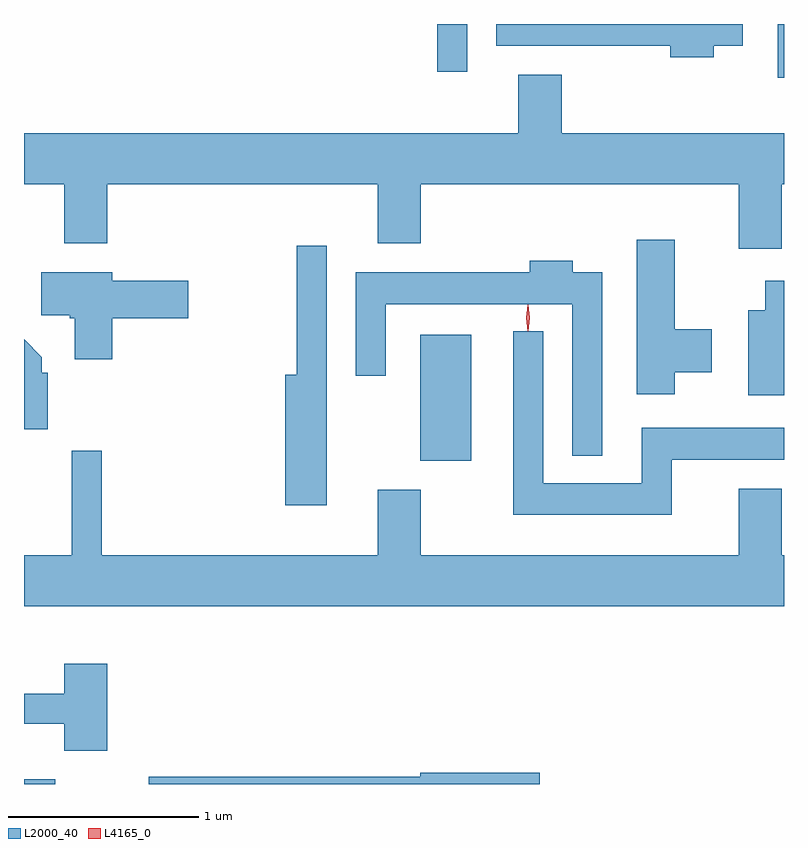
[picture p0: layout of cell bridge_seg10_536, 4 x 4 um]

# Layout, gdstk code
import gdstk
lib = gdstk.Library(unit=1e-6, precision=1e-09)
def R(c, l, rs):  # rectangles x0, y0, x1, y1
    for r in rs: c.add(gdstk.rectangle(r[:2], r[2:], *l))
def P(c, l, *ps):  # polygons
    for p in ps: c.add(gdstk.Polygon(p, *l))
L2000_40 = (2000, 40)
L4165_0 = (4165, 0)

bridge_seg10_536 = lib.new_cell('bridge_seg10_536')
R(bridge_seg10_536, L2000_40, [(761.89,2152.94,762.054,2152.964), (763.976,2154.641,764.244,2155.304), (765.856,2156.656,765.89,2156.94), (764.066,2156.688,764.224,2156.94)])
P(bridge_seg10_536, L2000_40, [(765.519,2156.826),(765.674,2156.826),(765.674,2156.94),(764.376,2156.94),(764.376,2156.826),(765.291,2156.826),(765.291,2156.766),(765.519,2156.766)],
  [(765.879,2156.096),(765.89,2156.096),(765.89,2156.364),(764.719,2156.364),(764.719,2156.674),(764.491,2156.674),(764.491,2156.364),(761.89,2156.364),(761.89,2156.096),(762.101,2156.096),(762.101,2155.786),(762.329,2155.786),(762.329,2156.096),(763.751,2156.096),(763.751,2155.786),(763.979,2155.786),(763.979,2156.096),(765.651,2156.096),(765.651,2155.756),(765.879,2155.756)],
  [(765.314,2155.106),(765.509,2155.106),(765.509,2155.334),(765.314,2155.334),(765.314,2155.804),(765.116,2155.804),(765.116,2154.991),(765.314,2154.991)],
  [(763.484,2155.773),(763.326,2155.773),(763.326,2155.094),(763.266,2155.094),(763.266,2154.406),(763.484,2154.406)],
  [(764.934,2155.634),(764.779,2155.634),(764.779,2155.694),(764.551,2155.694),(764.551,2155.634),(763.636,2155.634),(763.636,2155.088),(763.794,2155.088),(763.794,2155.466),(764.776,2155.466),(764.776,2154.668),(764.934,2154.668)],
  [(762.354,2155.391),(762.754,2155.391),(762.754,2155.589),(762.354,2155.589),(762.354,2155.634),(761.981,2155.634),(761.981,2155.406),(762.13,2155.406),(762.13,2155.391),(762.156,2155.391),(762.156,2155.176),(762.354,2155.176)],
  [(765.89,2155.589),(765.791,2155.589),(765.791,2155.434),(765.701,2155.434),(765.701,2154.986),(765.89,2154.986)],
  [(765.299,2154.646),(765.89,2154.646),(765.89,2154.814),(765.141,2154.814),(765.141,2154.524),(764.624,2154.524),(764.624,2155.323),(764.466,2155.323),(764.466,2154.356),(765.299,2154.356)],
  [(762.014,2155.104),(761.984,2155.104),(761.984,2155.187),(761.89,2155.281),(761.89,2154.806),(762.014,2154.806)],
  [(765.89,2154.144),(765.879,2154.144),(765.879,2154.494),(765.651,2154.494),(765.651,2154.144),(763.979,2154.144),(763.979,2154.489),(763.751,2154.489),(763.751,2154.144),(762.299,2154.144),(762.299,2154.693),(762.141,2154.693),(762.141,2154.144),(761.89,2154.144),(761.89,2153.876),(765.89,2153.876)],
  [(762.329,2153.574),(762.101,2153.574),(762.101,2153.414),(761.89,2153.414),(761.89,2153.256),(762.101,2153.256),(762.101,2153.116),(762.329,2153.116)],
  [(764.604,2152.999),(763.976,2152.999),(763.976,2152.979),(762.546,2152.979),(762.546,2152.94),(764.604,2152.94)])
P(bridge_seg10_536, L4165_0, [(764.543,2155.323),(764.542,2155.324),(764.533,2155.393),(764.542,2155.462),(764.543,2155.463),(764.543,2155.462),(764.553,2155.393),(764.543,2155.324)],
  [(764.543,2155.327),(764.543,2155.327),(764.533,2155.394),(764.542,2155.46),(764.543,2155.46),(764.543,2155.46),(764.553,2155.394),(764.544,2155.327)])

lib.write_gds('bridge_seg10_536.gds')
